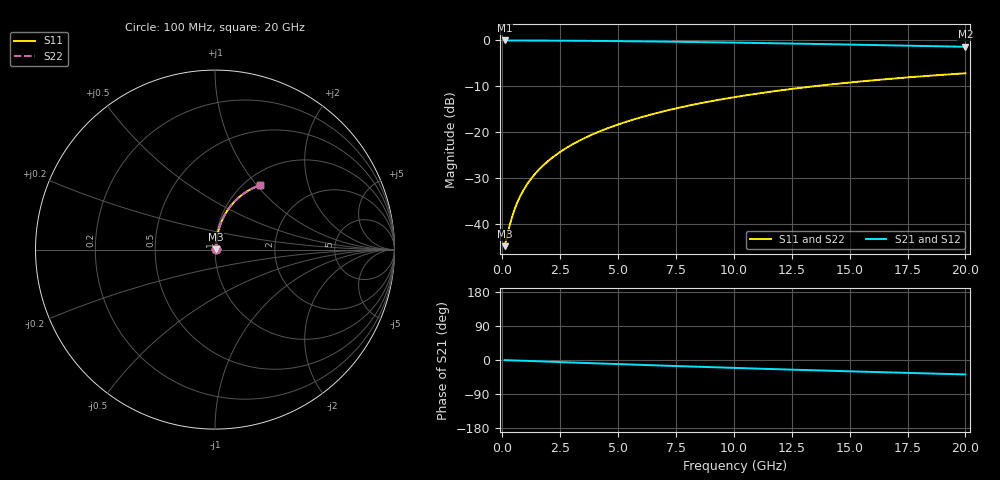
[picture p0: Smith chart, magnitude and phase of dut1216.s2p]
! Touchstone file exported from HFSS 2024.1.0
!  File:  C:/UserFiles/LocalFiles/RDL_TSV_Batchsim/temp_RDL_bottom_1216_1780243913.aedt
!  Generated:  12:14:31 AM Jun  1, 2026
!  Design:  RDL_bottom
!  Project:  temp_RDL_bottom_1216_1780243913
!  Setup:  Setup1
!  Solution:  Sweep
! Variables:
!  dtsv = 10.80580581um
!  hbump = 3um
!  htsv = 72.05um
!  ldown = 456.31um
!  lrdl = 100um
!  p = 40
!  p1 = 52.75um
!  rhole = 1um
!  t = 450um
!  tdown = 2.22um
!  trdl = 3.915915916um
!  wdown = 14.78um
!  wrdl = 20um
# GHz S MA R 50.000000
! Terminal data exported
! Port[1] = RDL1_T1
! Port[2] = RDL1_T2
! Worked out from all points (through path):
!   200 points, 100 MHz to 20 GHz, reference 50 ohm
!   highest |S21| = -0.04 dB at 100 MHz (marker M1); lowest = -1.4 dB at 20 GHz (marker M2)
!   group delay of S21, straight-line fit = 5.28 ps
!   lowest |S11| = -44.9 dB at 100 MHz (marker M3), VSWR 1.01, Z = 50.5 + j0.255 ohm
!   |S11| at or under -10 dB: start of sweep to 13.51 GHz
!   |S22| runs from -44.9 to -7.2 dB; largest |S21 - S12| = 6e-15
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0.1  0.005711 26.3  0.9949 -0.2  0.9949 -0.2  0.005711 26.3
! Gamma 0 0 0 0
! Port Impedance 50 0 50 0
0.3  0.009211 54.9  0.9947 -0.7  0.9947 -0.7  0.009211 54.9
0.4  0.01139 61.6  0.9946 -0.9  0.9946 -0.9  0.01139 61.6
0.5  0.01365 65.9  0.9944 -1.1  0.9944 -1.1  0.01365 65.9
0.6  0.01596 68.9  0.9943 -1.4  0.9943 -1.4  0.01596 68.9
0.7  0.01828 71.1  0.9941 -1.6  0.9941 -1.6  0.01828 71.1
0.9  0.02295 74.1  0.9937 -2.0  0.9937 -2.0  0.02295 74.1
1.2  0.02998 76.8  0.9931 -2.7  0.9931 -2.7  0.02998 76.8
1.4  0.03468 77.9  0.9927 -3.1  0.9927 -3.1  0.03468 77.9
1.7  0.04175 79.0  0.9921 -3.8  0.9921 -3.8  0.04175 79.0
2.2  0.05361 80.0  0.9907 -4.8  0.9907 -4.8  0.05361 80.0
2.8  0.06792 80.5  0.9888 -6.1  0.9888 -6.1  0.06792 80.5
3.5  0.08471 80.4  0.9862 -7.7  0.9862 -7.7  0.08471 80.4
4.2  0.1016 79.9  0.983 -9.1  0.983 -9.1  0.1016 79.9
5  0.1209 79.2  0.9789 -10.8  0.9789 -10.8  0.1209 79.2
5.9  0.1426 78.1  0.9736 -12.7  0.9736 -12.7  0.1426 78.1
6.8  0.1642 76.8  0.9677 -14.5  0.9677 -14.5  0.1642 76.8
8.4  0.2022 74.4  0.956 -17.7  0.956 -17.7  0.2022 74.4
10.1  0.2417 71.5  0.9422 -21.0  0.9422 -21.0  0.2417 71.5
13.4  0.3139 65.9  0.9128 -27.1  0.9128 -27.1  0.3139 65.9
16.7  0.3791 60.4  0.8811 -32.8  0.8811 -32.8  0.3791 60.4
20  0.4366 55.2  0.8487 -38.0  0.8487 -38.0  0.4366 55.2
